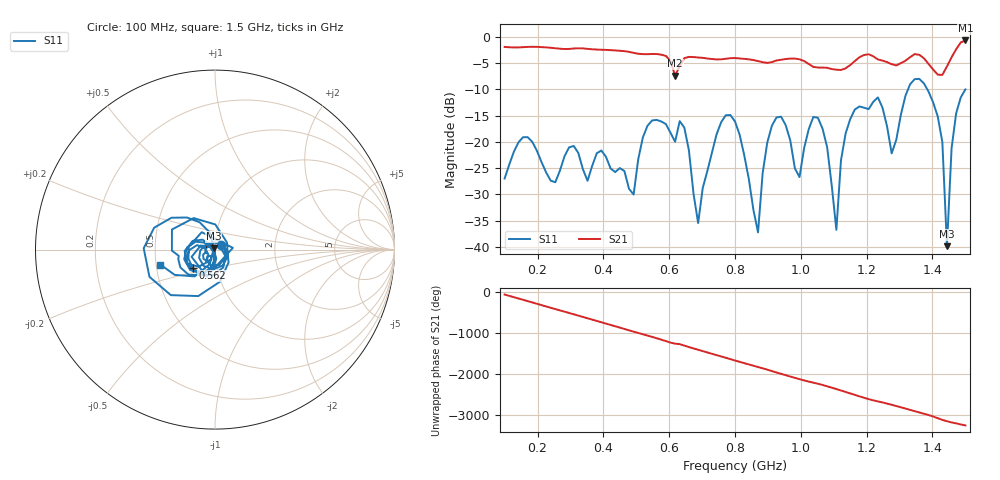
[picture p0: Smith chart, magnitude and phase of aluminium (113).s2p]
! NanoVNA-App
! Date: 2025-09-25 14:56:09
! Start: 100MHz Stop: 1,5GHz Points: 101
! S-Parameter data: F S11 S21 S12 S22
# Hz S RI R 50
!  Frequency  S11_Real  S11_Imag  S21_Real  S21_Imag  S12_Real  S12_Imag  S22_Real  S22_Imag
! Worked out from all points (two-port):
!   101 points, 100 MHz to 1.5 GHz, reference 50 ohm
!   highest |S21| = -0.69 dB at 1.5 GHz (marker M1); lowest = -7.4 dB at 618 MHz (marker M2)
!   |S21| within 3 dB of the highest: start of sweep to 590.8 MHz; 1.46 GHz to end of sweep (the widest 2 of 4)
!   lowest |S11| = -39.9 dB at 1.444 GHz (marker M3), VSWR 1.02, Z = 49.4 + j0.784 ohm
!   |S11| at or under -10 dB: start of sweep to 1.326 GHz; 1.384 GHz to end of sweep
!   S12 and S22 are empty: the file has one direction only
!   S11 on the Smith chart (normalised r, x): 100 MHz: 1.07, +0.06; 562 MHz: 0.76, -0.16; 1.5 GHz: 0.53, -0.10
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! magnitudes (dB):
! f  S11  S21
! 100 MHz  -27.0  -1.9
! 338 MHz  -25.2  -2.2
! 492 MHz  -30.1  -3.1
! 562 MHz  -15.8  -3.3
! 576 MHz  -16.1  -3.4
! 618 MHz  -20.0  -7.4
! 646 MHz  -17.3  -4.1
! 688 MHz  -35.5  -3.9
! 800 MHz  -16.1  -4.0
! 870 MHz  -37.3  -4.6
! 912 MHz  -16.9  -4.8
! 996 MHz  -26.7  -4.3
! 1.038 GHz  -15.3  -5.7
! 1.108 GHz  -36.8  -6.3
! 1.164 GHz  -13.9  -4.6
! 1.234 GHz  -11.5  -4.3
! 1.276 GHz  -22.2  -5.2
! 1.374 GHz  -8.9  -4.1
! 1.43 GHz  -20.1  -7.2
! 1.444 GHz  -39.9  -5.6
! 1.458 GHz  -21.2  -3.9
! 1.5 GHz  -10.0  -0.7
